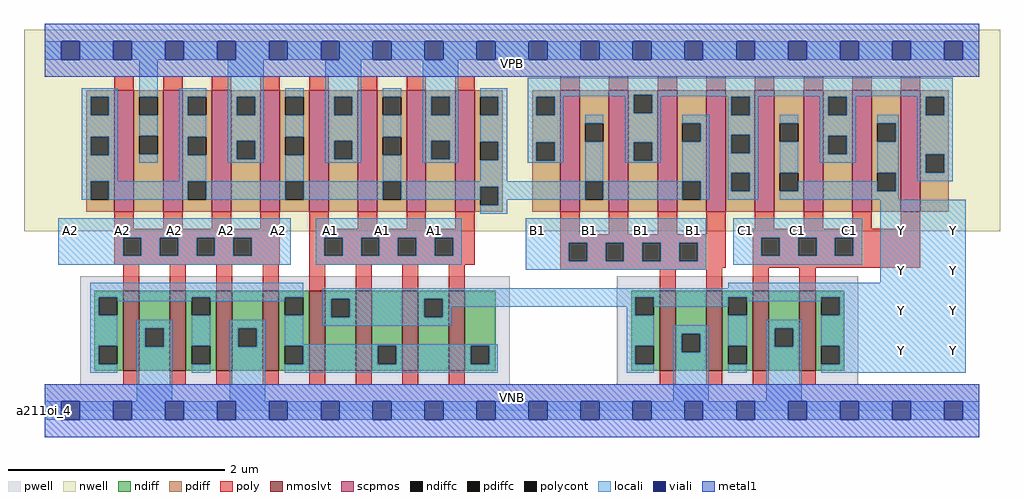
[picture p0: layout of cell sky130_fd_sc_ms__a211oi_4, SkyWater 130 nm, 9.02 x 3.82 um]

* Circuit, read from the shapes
.subckt sky130_fd_sc_ms__a211oi_4 A1 A2 B1 C1 VGND VNB VPB VPWR Y
XM1 VGND A2 n1 VNB sky130_fd_pr__nfet_01v8_lvt w=0.74 l=0.15 m=4
XM2 Y A1 n1 VNB sky130_fd_pr__nfet_01v8_lvt w=0.74 l=0.15 m=4
XM3 VGND B1 Y VNB sky130_fd_pr__nfet_01v8_lvt w=0.74 l=0.15 m=2
XM4 VGND C1 Y VNB sky130_fd_pr__nfet_01v8_lvt w=0.74 l=0.15 m=2
XM5 VPWR A2 n2 VPB sky130_fd_pr__pfet_01v8 w=1.12 l=0.18 m=4
XM6 VPWR A1 n2 VPB sky130_fd_pr__pfet_01v8 w=1.12 l=0.18 m=4
XM7 n2 B1 n3 VPB sky130_fd_pr__pfet_01v8 w=1.12 l=0.18 m=4
XM8 Y C1 n3 VPB sky130_fd_pr__pfet_01v8 w=1.12 l=0.18 m=4
.ends

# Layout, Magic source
magic
tech sky130A
magscale 1 2
<< nwell >>
rect -38 332 1766 704
<< pwell >>
rect 66 49 860 248
rect 1058 49 1504 248
rect 0 0 1728 49
<< scpmos >>
rect 129 368 165 592
rect 219 368 255 592
rect 309 368 345 592
rect 399 368 435 592
rect 489 368 525 592
rect 579 368 615 592
rect 669 368 705 592
rect 759 368 795 592
rect 953 368 989 592
rect 1043 368 1079 592
rect 1133 368 1169 592
rect 1223 368 1259 592
rect 1313 368 1349 592
rect 1403 368 1439 592
rect 1493 368 1529 592
rect 1583 368 1619 592
<< nmoslvt >>
rect 145 74 175 222
rect 231 74 261 222
rect 317 74 347 222
rect 403 74 433 222
rect 489 74 519 222
rect 575 74 605 222
rect 661 74 691 222
rect 747 74 777 222
rect 1137 74 1167 222
rect 1223 74 1253 222
rect 1309 74 1339 222
rect 1395 74 1425 222
<< ndiff >>
rect 92 210 145 222
rect 92 176 100 210
rect 134 176 145 210
rect 92 120 145 176
rect 92 86 100 120
rect 134 86 145 120
rect 92 74 145 86
rect 175 152 231 222
rect 175 118 186 152
rect 220 118 231 152
rect 175 74 231 118
rect 261 210 317 222
rect 261 176 272 210
rect 306 176 317 210
rect 261 120 317 176
rect 261 86 272 120
rect 306 86 317 120
rect 261 74 317 86
rect 347 152 403 222
rect 347 118 358 152
rect 392 118 403 152
rect 347 74 403 118
rect 433 210 489 222
rect 433 176 444 210
rect 478 176 489 210
rect 433 120 489 176
rect 433 86 444 120
rect 478 86 489 120
rect 433 74 489 86
rect 519 207 575 222
rect 519 173 530 207
rect 564 173 575 207
rect 519 74 575 173
rect 605 120 661 222
rect 605 86 616 120
rect 650 86 661 120
rect 605 74 661 86
rect 691 207 747 222
rect 691 173 702 207
rect 736 173 747 207
rect 691 74 747 173
rect 777 120 834 222
rect 777 86 788 120
rect 822 86 834 120
rect 777 74 834 86
rect 1084 210 1137 222
rect 1084 176 1092 210
rect 1126 176 1137 210
rect 1084 120 1137 176
rect 1084 86 1092 120
rect 1126 86 1137 120
rect 1084 74 1137 86
rect 1167 142 1223 222
rect 1167 108 1178 142
rect 1212 108 1223 142
rect 1167 74 1223 108
rect 1253 210 1309 222
rect 1253 176 1264 210
rect 1298 176 1309 210
rect 1253 120 1309 176
rect 1253 86 1264 120
rect 1298 86 1309 120
rect 1253 74 1309 86
rect 1339 152 1395 222
rect 1339 118 1350 152
rect 1384 118 1395 152
rect 1339 74 1395 118
rect 1425 210 1478 222
rect 1425 176 1436 210
rect 1470 176 1478 210
rect 1425 120 1478 176
rect 1425 86 1436 120
rect 1470 86 1478 120
rect 1425 74 1478 86
<< pdiff >>
rect 77 580 129 592
rect 77 546 85 580
rect 119 546 129 580
rect 77 506 129 546
rect 77 472 85 506
rect 119 472 129 506
rect 77 424 129 472
rect 77 390 85 424
rect 119 390 129 424
rect 77 368 129 390
rect 165 580 219 592
rect 165 546 175 580
rect 209 546 219 580
rect 165 508 219 546
rect 165 474 175 508
rect 209 474 219 508
rect 165 368 219 474
rect 255 580 309 592
rect 255 546 265 580
rect 299 546 309 580
rect 255 506 309 546
rect 255 472 265 506
rect 299 472 309 506
rect 255 424 309 472
rect 255 390 265 424
rect 299 390 309 424
rect 255 368 309 390
rect 345 580 399 592
rect 345 546 355 580
rect 389 546 399 580
rect 345 499 399 546
rect 345 465 355 499
rect 389 465 399 499
rect 345 368 399 465
rect 435 580 489 592
rect 435 546 445 580
rect 479 546 489 580
rect 435 506 489 546
rect 435 472 445 506
rect 479 472 489 506
rect 435 424 489 472
rect 435 390 445 424
rect 479 390 489 424
rect 435 368 489 390
rect 525 580 579 592
rect 525 546 535 580
rect 569 546 579 580
rect 525 499 579 546
rect 525 465 535 499
rect 569 465 579 499
rect 525 368 579 465
rect 615 580 669 592
rect 615 546 625 580
rect 659 546 669 580
rect 615 506 669 546
rect 615 472 625 506
rect 659 472 669 506
rect 615 424 669 472
rect 615 390 625 424
rect 659 390 669 424
rect 615 368 669 390
rect 705 580 759 592
rect 705 546 715 580
rect 749 546 759 580
rect 705 499 759 546
rect 705 465 715 499
rect 749 465 759 499
rect 705 368 759 465
rect 795 580 847 592
rect 795 546 805 580
rect 839 546 847 580
rect 795 497 847 546
rect 795 463 805 497
rect 839 463 847 497
rect 795 414 847 463
rect 795 380 805 414
rect 839 380 847 414
rect 795 368 847 380
rect 901 580 953 592
rect 901 546 909 580
rect 943 546 953 580
rect 901 496 953 546
rect 901 462 909 496
rect 943 462 953 496
rect 901 368 953 462
rect 989 531 1043 592
rect 989 497 999 531
rect 1033 497 1043 531
rect 989 424 1043 497
rect 989 390 999 424
rect 1033 390 1043 424
rect 989 368 1043 390
rect 1079 584 1133 592
rect 1079 550 1089 584
rect 1123 550 1133 584
rect 1079 496 1133 550
rect 1079 462 1089 496
rect 1123 462 1133 496
rect 1079 368 1133 462
rect 1169 531 1223 592
rect 1169 497 1179 531
rect 1213 497 1223 531
rect 1169 424 1223 497
rect 1169 390 1179 424
rect 1213 390 1223 424
rect 1169 368 1223 390
rect 1259 580 1313 592
rect 1259 546 1269 580
rect 1303 546 1313 580
rect 1259 510 1313 546
rect 1259 476 1269 510
rect 1303 476 1313 510
rect 1259 440 1313 476
rect 1259 406 1269 440
rect 1303 406 1313 440
rect 1259 368 1313 406
rect 1349 531 1403 592
rect 1349 497 1359 531
rect 1393 497 1403 531
rect 1349 440 1403 497
rect 1349 406 1359 440
rect 1393 406 1403 440
rect 1349 368 1403 406
rect 1439 580 1493 592
rect 1439 546 1449 580
rect 1483 546 1493 580
rect 1439 508 1493 546
rect 1439 474 1449 508
rect 1483 474 1493 508
rect 1439 368 1493 474
rect 1529 531 1583 592
rect 1529 497 1539 531
rect 1573 497 1583 531
rect 1529 440 1583 497
rect 1529 406 1539 440
rect 1573 406 1583 440
rect 1529 368 1583 406
rect 1619 580 1671 592
rect 1619 546 1629 580
rect 1663 546 1671 580
rect 1619 474 1671 546
rect 1619 440 1629 474
rect 1663 440 1671 474
rect 1619 368 1671 440
<< ndiffc >>
rect 100 176 134 210
rect 100 86 134 120
rect 186 118 220 152
rect 272 176 306 210
rect 272 86 306 120
rect 358 118 392 152
rect 444 176 478 210
rect 444 86 478 120
rect 530 173 564 207
rect 616 86 650 120
rect 702 173 736 207
rect 788 86 822 120
rect 1092 176 1126 210
rect 1092 86 1126 120
rect 1178 108 1212 142
rect 1264 176 1298 210
rect 1264 86 1298 120
rect 1350 118 1384 152
rect 1436 176 1470 210
rect 1436 86 1470 120
<< pdiffc >>
rect 85 546 119 580
rect 85 472 119 506
rect 85 390 119 424
rect 175 546 209 580
rect 175 474 209 508
rect 265 546 299 580
rect 265 472 299 506
rect 265 390 299 424
rect 355 546 389 580
rect 355 465 389 499
rect 445 546 479 580
rect 445 472 479 506
rect 445 390 479 424
rect 535 546 569 580
rect 535 465 569 499
rect 625 546 659 580
rect 625 472 659 506
rect 625 390 659 424
rect 715 546 749 580
rect 715 465 749 499
rect 805 546 839 580
rect 805 463 839 497
rect 805 380 839 414
rect 909 546 943 580
rect 909 462 943 496
rect 999 497 1033 531
rect 999 390 1033 424
rect 1089 550 1123 584
rect 1089 462 1123 496
rect 1179 497 1213 531
rect 1179 390 1213 424
rect 1269 546 1303 580
rect 1269 476 1303 510
rect 1269 406 1303 440
rect 1359 497 1393 531
rect 1359 406 1393 440
rect 1449 546 1483 580
rect 1449 474 1483 508
rect 1539 497 1573 531
rect 1539 406 1573 440
rect 1629 546 1663 580
rect 1629 440 1663 474
<< poly >>
rect 129 592 165 618
rect 219 592 255 618
rect 309 592 345 618
rect 399 592 435 618
rect 489 592 525 618
rect 579 592 615 618
rect 669 592 705 618
rect 759 592 795 618
rect 953 592 989 618
rect 1043 592 1079 618
rect 1133 592 1169 618
rect 1223 592 1259 618
rect 1313 592 1349 618
rect 1403 592 1439 618
rect 1493 592 1529 618
rect 1583 592 1619 618
rect 129 336 165 368
rect 219 336 255 368
rect 309 336 345 368
rect 399 336 435 368
rect 129 320 435 336
rect 129 286 145 320
rect 179 286 213 320
rect 247 286 281 320
rect 315 286 349 320
rect 383 286 435 320
rect 129 270 435 286
rect 489 336 525 368
rect 579 336 615 368
rect 669 336 705 368
rect 759 336 795 368
rect 489 320 795 336
rect 489 286 517 320
rect 551 286 585 320
rect 619 286 653 320
rect 687 286 721 320
rect 755 286 795 320
rect 489 270 795 286
rect 953 326 989 368
rect 1043 326 1079 368
rect 1133 326 1169 368
rect 1223 326 1259 368
rect 1313 336 1349 368
rect 1403 336 1439 368
rect 1493 336 1529 368
rect 1583 336 1619 368
rect 953 310 1259 326
rect 953 276 969 310
rect 1003 276 1037 310
rect 1071 276 1105 310
rect 1139 276 1173 310
rect 1207 276 1259 310
rect 145 222 175 270
rect 231 222 261 270
rect 317 222 347 270
rect 403 222 433 270
rect 489 222 519 270
rect 575 222 605 270
rect 661 222 691 270
rect 747 222 777 270
rect 953 264 1259 276
rect 1309 320 1619 336
rect 1309 286 1325 320
rect 1359 286 1393 320
rect 1427 286 1461 320
rect 1495 286 1619 320
rect 1309 264 1619 286
rect 953 260 1253 264
rect 1137 222 1167 260
rect 1223 222 1253 260
rect 1309 222 1339 264
rect 1395 222 1425 264
rect 145 48 175 74
rect 231 48 261 74
rect 317 48 347 74
rect 403 48 433 74
rect 489 48 519 74
rect 575 48 605 74
rect 661 48 691 74
rect 747 48 777 74
rect 1137 48 1167 74
rect 1223 48 1253 74
rect 1309 48 1339 74
rect 1395 48 1425 74
<< polycont >>
rect 145 286 179 320
rect 213 286 247 320
rect 281 286 315 320
rect 349 286 383 320
rect 517 286 551 320
rect 585 286 619 320
rect 653 286 687 320
rect 721 286 755 320
rect 969 276 1003 310
rect 1037 276 1071 310
rect 1105 276 1139 310
rect 1173 276 1207 310
rect 1325 286 1359 320
rect 1393 286 1427 320
rect 1461 286 1495 320
<< locali >>
rect 0 649 31 683
rect 65 649 127 683
rect 161 649 223 683
rect 257 649 319 683
rect 353 649 415 683
rect 449 649 511 683
rect 545 649 607 683
rect 641 649 703 683
rect 737 649 799 683
rect 833 649 895 683
rect 929 649 991 683
rect 1025 649 1087 683
rect 1121 649 1183 683
rect 1217 649 1279 683
rect 1313 649 1375 683
rect 1409 649 1471 683
rect 1505 649 1567 683
rect 1601 649 1663 683
rect 1697 649 1728 683
rect 69 580 135 596
rect 69 546 85 580
rect 119 546 135 580
rect 69 506 135 546
rect 69 472 85 506
rect 119 472 135 506
rect 69 424 135 472
rect 175 580 209 649
rect 175 508 209 546
rect 175 458 209 474
rect 249 580 299 596
rect 249 546 265 580
rect 249 506 299 546
rect 249 472 265 506
rect 249 424 299 472
rect 339 580 405 649
rect 339 546 355 580
rect 389 546 405 580
rect 339 499 405 546
rect 339 465 355 499
rect 389 465 405 499
rect 339 458 405 465
rect 445 580 479 596
rect 445 506 479 546
rect 445 424 479 472
rect 519 580 585 649
rect 519 546 535 580
rect 569 546 585 580
rect 519 499 585 546
rect 519 465 535 499
rect 569 465 585 499
rect 519 458 585 465
rect 625 580 659 596
rect 625 506 659 546
rect 625 424 659 472
rect 699 580 765 649
rect 699 546 715 580
rect 749 546 765 580
rect 699 499 765 546
rect 699 465 715 499
rect 749 465 765 499
rect 699 458 765 465
rect 805 580 855 596
rect 839 546 855 580
rect 805 497 855 546
rect 839 463 855 497
rect 805 424 855 463
rect 893 584 1679 615
rect 893 581 1089 584
rect 893 580 959 581
rect 893 546 909 580
rect 943 546 959 580
rect 1073 550 1089 581
rect 1123 581 1679 584
rect 1123 550 1139 581
rect 893 496 959 546
rect 893 462 909 496
rect 943 462 959 496
rect 893 458 959 462
rect 999 531 1033 547
rect 999 424 1033 497
rect 1073 496 1139 550
rect 1263 580 1319 581
rect 1073 462 1089 496
rect 1123 462 1139 496
rect 1073 458 1139 462
rect 1179 531 1229 547
rect 1213 497 1229 531
rect 1179 424 1229 497
rect 69 390 85 424
rect 119 390 265 424
rect 299 390 445 424
rect 479 390 625 424
rect 659 414 999 424
rect 659 390 805 414
rect 839 390 999 414
rect 1033 390 1179 424
rect 1213 390 1229 424
rect 1263 546 1269 580
rect 1303 546 1319 580
rect 1433 580 1499 581
rect 1263 510 1319 546
rect 1263 476 1269 510
rect 1303 476 1319 510
rect 1263 440 1319 476
rect 1263 406 1269 440
rect 1303 406 1319 440
rect 1263 390 1319 406
rect 1359 531 1393 547
rect 1359 440 1393 497
rect 1433 546 1449 580
rect 1483 546 1499 580
rect 1613 580 1679 581
rect 1433 508 1499 546
rect 1433 474 1449 508
rect 1483 474 1499 508
rect 1433 458 1499 474
rect 1539 531 1579 547
rect 1573 497 1579 531
rect 1539 440 1579 497
rect 1393 406 1539 424
rect 1573 406 1579 440
rect 1613 546 1629 580
rect 1663 546 1679 580
rect 1613 474 1679 546
rect 1613 440 1629 474
rect 1663 440 1679 474
rect 1613 424 1679 440
rect 1359 390 1579 406
rect 839 380 855 390
rect 805 364 855 380
rect 25 320 455 356
rect 25 286 145 320
rect 179 286 213 320
rect 247 286 281 320
rect 315 286 349 320
rect 383 286 455 320
rect 25 270 455 286
rect 501 320 771 356
rect 501 286 517 320
rect 551 286 585 320
rect 619 286 653 320
rect 687 286 721 320
rect 755 286 771 320
rect 501 270 771 286
rect 889 310 1223 356
rect 889 276 969 310
rect 1003 276 1037 310
rect 1071 276 1105 310
rect 1139 276 1173 310
rect 1207 276 1223 310
rect 889 260 1223 276
rect 1273 320 1511 356
rect 1273 286 1325 320
rect 1359 286 1393 320
rect 1427 286 1461 320
rect 1495 286 1511 320
rect 1273 270 1511 286
rect 1545 236 1703 390
rect 84 210 478 236
rect 1264 226 1703 236
rect 84 176 100 210
rect 134 202 272 210
rect 84 120 134 176
rect 306 202 444 210
rect 84 86 100 120
rect 84 70 134 86
rect 170 152 236 168
rect 170 118 186 152
rect 220 118 236 152
rect 170 17 236 118
rect 272 120 306 176
rect 272 70 306 86
rect 342 152 408 168
rect 342 118 358 152
rect 392 118 408 152
rect 342 17 408 118
rect 444 123 478 176
rect 514 210 1703 226
rect 514 207 1092 210
rect 514 173 530 207
rect 564 173 702 207
rect 736 192 1092 207
rect 736 173 752 192
rect 514 157 752 173
rect 1076 176 1092 192
rect 1126 192 1264 210
rect 444 120 838 123
rect 478 86 616 120
rect 650 86 788 120
rect 822 86 838 120
rect 444 70 838 86
rect 1076 120 1126 176
rect 1298 202 1436 210
rect 1076 86 1092 120
rect 1076 70 1126 86
rect 1162 142 1228 158
rect 1162 108 1178 142
rect 1212 108 1228 142
rect 1162 17 1228 108
rect 1264 120 1298 176
rect 1470 176 1703 210
rect 1264 70 1298 86
rect 1334 152 1400 168
rect 1334 118 1350 152
rect 1384 118 1400 152
rect 1334 17 1400 118
rect 1436 120 1703 176
rect 1470 86 1703 120
rect 1436 70 1703 86
rect 0 -17 31 17
rect 65 -17 127 17
rect 161 -17 223 17
rect 257 -17 319 17
rect 353 -17 415 17
rect 449 -17 511 17
rect 545 -17 607 17
rect 641 -17 703 17
rect 737 -17 799 17
rect 833 -17 895 17
rect 929 -17 991 17
rect 1025 -17 1087 17
rect 1121 -17 1183 17
rect 1217 -17 1279 17
rect 1313 -17 1375 17
rect 1409 -17 1471 17
rect 1505 -17 1567 17
rect 1601 -17 1663 17
rect 1697 -17 1728 17
<< viali >>
rect 31 649 65 683
rect 127 649 161 683
rect 223 649 257 683
rect 319 649 353 683
rect 415 649 449 683
rect 511 649 545 683
rect 607 649 641 683
rect 703 649 737 683
rect 799 649 833 683
rect 895 649 929 683
rect 991 649 1025 683
rect 1087 649 1121 683
rect 1183 649 1217 683
rect 1279 649 1313 683
rect 1375 649 1409 683
rect 1471 649 1505 683
rect 1567 649 1601 683
rect 1663 649 1697 683
rect 31 -17 65 17
rect 127 -17 161 17
rect 223 -17 257 17
rect 319 -17 353 17
rect 415 -17 449 17
rect 511 -17 545 17
rect 607 -17 641 17
rect 703 -17 737 17
rect 799 -17 833 17
rect 895 -17 929 17
rect 991 -17 1025 17
rect 1087 -17 1121 17
rect 1183 -17 1217 17
rect 1279 -17 1313 17
rect 1375 -17 1409 17
rect 1471 -17 1505 17
rect 1567 -17 1601 17
rect 1663 -17 1697 17
<< metal1 >>
rect 0 683 1728 715
rect 0 649 31 683
rect 65 649 127 683
rect 161 649 223 683
rect 257 649 319 683
rect 353 649 415 683
rect 449 649 511 683
rect 545 649 607 683
rect 641 649 703 683
rect 737 649 799 683
rect 833 649 895 683
rect 929 649 991 683
rect 1025 649 1087 683
rect 1121 649 1183 683
rect 1217 649 1279 683
rect 1313 649 1375 683
rect 1409 649 1471 683
rect 1505 649 1567 683
rect 1601 649 1663 683
rect 1697 649 1728 683
rect 0 617 1728 649
rect 0 17 1728 49
rect 0 -17 31 17
rect 65 -17 127 17
rect 161 -17 223 17
rect 257 -17 319 17
rect 353 -17 415 17
rect 449 -17 511 17
rect 545 -17 607 17
rect 641 -17 703 17
rect 737 -17 799 17
rect 833 -17 895 17
rect 929 -17 991 17
rect 1025 -17 1087 17
rect 1121 -17 1183 17
rect 1217 -17 1279 17
rect 1313 -17 1375 17
rect 1409 -17 1471 17
rect 1505 -17 1567 17
rect 1601 -17 1663 17
rect 1697 -17 1728 17
rect 0 -49 1728 -17
<< labels >>
flabel pwell s 0 0 1728 49 0 FreeSans 200 0 0 0 VNB
port 6 nsew ground bidirectional
flabel nwell s 0 617 1728 666 0 FreeSans 200 0 0 0 VPB
port 7 nsew power bidirectional
rlabel comment s 0 0 0 0 4 a211oi_4
flabel metal1 s 0 617 1728 666 0 FreeSans 340 0 0 0 VPWR
port 8 nsew power bidirectional
flabel metal1 s 0 0 1728 49 0 FreeSans 340 0 0 0 VGND
port 5 nsew ground bidirectional
flabel locali s 1567 94 1601 128 0 FreeSans 340 0 0 0 Y
port 9 nsew signal output
flabel locali s 1567 168 1601 202 0 FreeSans 340 0 0 0 Y
port 9 nsew signal output
flabel locali s 1567 242 1601 276 0 FreeSans 340 0 0 0 Y
port 9 nsew signal output
flabel locali s 1567 316 1601 350 0 FreeSans 340 0 0 0 Y
port 9 nsew signal output
flabel locali s 1663 94 1697 128 0 FreeSans 340 0 0 0 Y
port 9 nsew signal output
flabel locali s 1663 168 1697 202 0 FreeSans 340 0 0 0 Y
port 9 nsew signal output
flabel locali s 1663 242 1697 276 0 FreeSans 340 0 0 0 Y
port 9 nsew signal output
flabel locali s 1663 316 1697 350 0 FreeSans 340 0 0 0 Y
port 9 nsew signal output
flabel locali s 1279 316 1313 350 0 FreeSans 340 0 0 0 C1
port 4 nsew signal input
flabel locali s 1375 316 1409 350 0 FreeSans 340 0 0 0 C1
port 4 nsew signal input
flabel locali s 1471 316 1505 350 0 FreeSans 340 0 0 0 C1
port 4 nsew signal input
flabel locali s 895 316 929 350 0 FreeSans 340 0 0 0 B1
port 3 nsew signal input
flabel locali s 991 316 1025 350 0 FreeSans 340 0 0 0 B1
port 3 nsew signal input
flabel locali s 1087 316 1121 350 0 FreeSans 340 0 0 0 B1
port 3 nsew signal input
flabel locali s 1183 316 1217 350 0 FreeSans 340 0 0 0 B1
port 3 nsew signal input
flabel locali s 31 316 65 350 0 FreeSans 340 0 0 0 A2
port 2 nsew signal input
flabel locali s 127 316 161 350 0 FreeSans 340 0 0 0 A2
port 2 nsew signal input
flabel locali s 223 316 257 350 0 FreeSans 340 0 0 0 A2
port 2 nsew signal input
flabel locali s 319 316 353 350 0 FreeSans 340 0 0 0 A2
port 2 nsew signal input
flabel locali s 415 316 449 350 0 FreeSans 340 0 0 0 A2
port 2 nsew signal input
flabel locali s 511 316 545 350 0 FreeSans 340 0 0 0 A1
port 1 nsew signal input
flabel locali s 607 316 641 350 0 FreeSans 340 0 0 0 A1
port 1 nsew signal input
flabel locali s 703 316 737 350 0 FreeSans 340 0 0 0 A1
port 1 nsew signal input
<< properties >>
string LEFsite unit
string LEFclass CORE
string FIXED_BBOX 0 0 1728 666
string GDS_FILE $PDKPATH/libs.ref/sky130_fd_sc_ms/gds/sky130_fd_sc_ms.gds
string LEFsymmetry X Y
string GDS_END 139092
string GDS_START 124916
<< end >>
